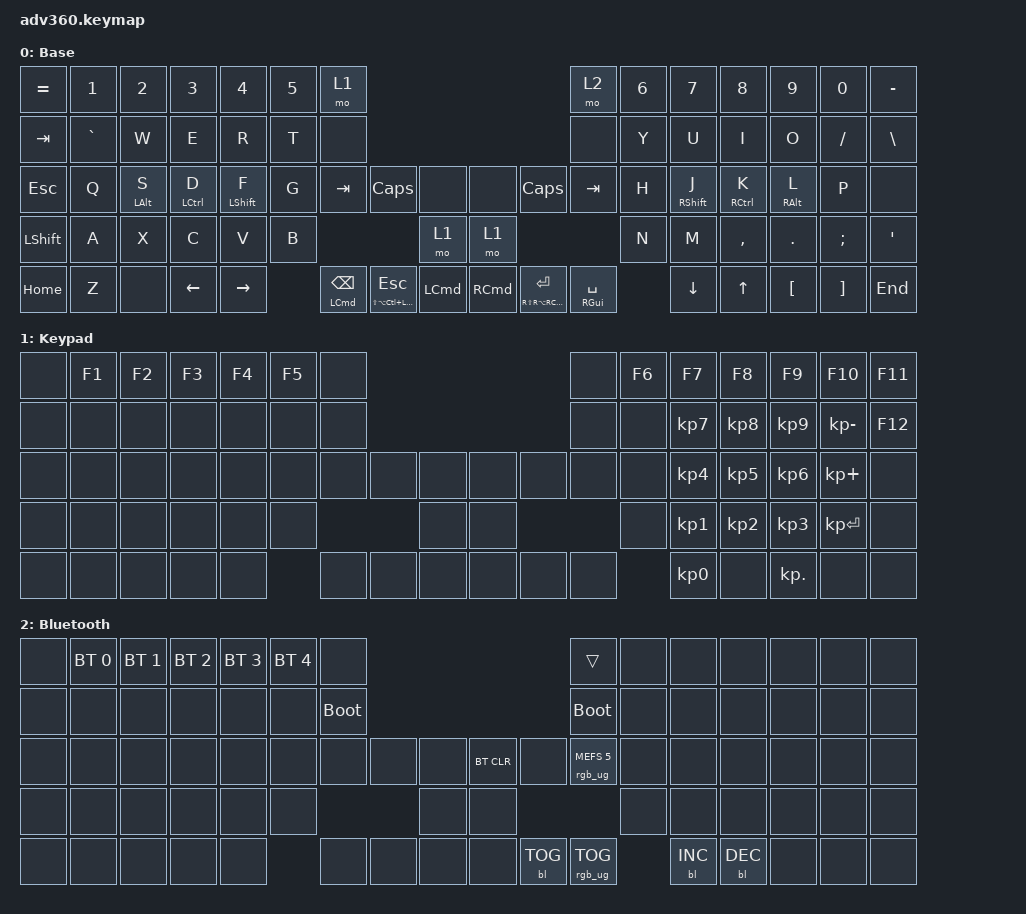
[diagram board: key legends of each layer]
#include <dt-bindings/zmk/stp.h>
#include <behaviors.dtsi>
#include <dt-bindings/zmk/backlight.h>
#include <dt-bindings/zmk/bt.h>
#include <dt-bindings/zmk/keys.h>
#include <dt-bindings/zmk/rgb.h>

/ {
    behaviors {
        #include "macros.dtsi"
      #include "version.dtsi"

        hm: homerow_mods {
            compatible = "zmk,behavior-hold-tap";
            label = "HOMEROW_MODS";
            #binding-cells = <2>;
            tapping-term-ms = <200>;
            quick_tap_ms = <175>;
            flavor = "tap-preferred";
            bindings = <&kp>, <&kp>;
        };
    };

    keymap {
        compatible = "zmk,keymap";

        base {
            display-name = "Base";
            bindings = <
&kp EQUAL  &kp N1     &kp N2          &kp N3       &kp N4            &kp N5  &mo 1                                                                                                                 &mo 2           &kp N6  &kp N7             &kp N8       &kp N9           &kp N0     &kp MINUS
&kp TAB    &kp GRAVE  &kp W           &kp E        &kp R             &kp T   &none                                                                                                                 &none           &kp Y   &kp U              &kp I        &kp O            &kp SLASH  &kp BSLH
&kp ESC    &kp Q      &hm LEFT_ALT S  &hm LCTRL D  &hm LEFT_SHIFT F  &kp G   &kp TAB             &kp CAPS                     &none                 &none              &kp CAPS                    &kp TAB         &kp H   &hm RIGHT_SHIFT J  &hm RCTRL K  &hm RIGHT_ALT L  &kp P      &none
&kp LSHFT  &kp A      &kp X           &kp C        &kp V             &kp B                                                    &mo 1                 &mo 1                                                          &kp N   &kp M              &kp COMMA    &kp DOT          &kp SEMI   &kp SQT
&kp HOME   &kp Z      &none           &kp LEFT     &kp RIGHT                 &hm LCMD BACKSPACE  &hm LS(LA(LC(LGUI))) ESCAPE  &kp LEFT_COMMAND      &kp RIGHT_COMMAND  &hm RS(RA(RC(RGUI))) ENTER  &hm RGUI SPACE          &kp DOWN           &kp UP       &kp LBKT         &kp RBKT   &kp END
            >;
        };

        keypad {
            display-name = "Keypad";
            bindings = <
&none  &kp F1  &kp F2  &kp F3  &kp F4  &kp F5  &none                                  &none  &kp F6  &kp F7     &kp F8     &kp F9      &kp F10       &kp F11
&none  &none   &none   &none   &none   &none   &none                                  &none  &none   &kp KP_N7  &kp KP_N8  &kp KP_N9   &kp KP_MINUS  &kp F12
&none  &none   &none   &none   &none   &none   &none  &none  &none      &none  &none  &none  &none   &kp KP_N4  &kp KP_N5  &kp KP_N6   &kp KP_PLUS   &none
&none  &none   &none   &none   &none   &none                 &none      &none                &none   &kp KP_N1  &kp KP_N2  &kp KP_N3   &kp KP_ENTER  &none
&none  &none   &none   &none   &none           &none  &none  &none      &none  &none  &none          &kp KP_N0  &none      &kp KP_DOT  &none         &none
            >;
        };

        bt {
            display-name = "Bluetooth";
            bindings = <
&none  &bt BT_SEL 0  &bt BT_SEL 1  &bt BT_SEL 2  &bt BT_SEL 3  &bt BT_SEL 4  &none                                                  &trans                  &none  &none       &none       &none  &none  &none
&none  &none         &none         &none         &none         &none         &bootloader                                            &bootloader             &none  &none       &none       &none  &none  &none
&none  &none         &none         &none         &none         &none         &none        &none  &none      &bt BT_CLR  &none       &rgb_ug RGB_MEFS_CMD 5  &none  &none       &none       &none  &none  &none
&none  &none         &none         &none         &none         &none                             &none      &none                                           &none  &none       &none       &none  &none  &none
&none  &none         &none         &none         &none                       &none        &none  &none      &none       &bl BL_TOG  &rgb_ug RGB_TOG                &bl BL_INC  &bl BL_DEC  &none  &none  &none
            >;
        };
    };
};
